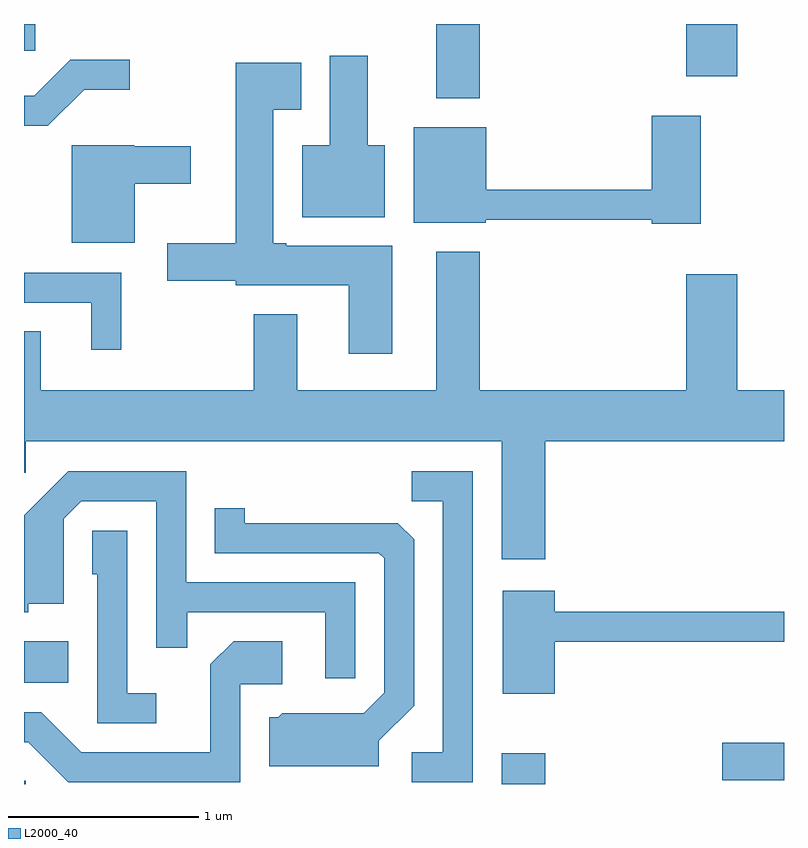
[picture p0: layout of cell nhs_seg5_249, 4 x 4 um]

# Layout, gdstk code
import gdstk
lib = gdstk.Library(unit=1e-6, precision=1e-09)
def R(c, l, rs):  # rectangles x0, y0, x1, y1
    for r in rs: c.add(gdstk.rectangle(r[:2], r[2:], *l))
def P(c, l, *ps):  # polygons
    for p in ps: c.add(gdstk.Polygon(p, *l))
L2000_40 = (2000, 40)

nhs_seg5_249 = lib.new_cell('nhs_seg5_249')
R(nhs_seg5_249, L2000_40, [(191.611,1486.072,191.619,1486.089), (194.126,1486.072,194.354,1486.234), (195.286,1486.091,195.611,1486.289), (191.611,1486.606,191.844,1486.824), (193.781,1489.681,194.009,1490.072), (195.096,1489.796,195.364,1490.072), (191.611,1489.931,191.669,1490.072)])
P(nhs_seg5_249, L2000_40, [(193.509,1489.434),(193.419,1489.434),(193.419,1489.904),(193.221,1489.904),(193.221,1489.434),(193.076,1489.434),(193.076,1489.056),(193.509,1489.056)],
  [(191.927,1489.726),(192.168,1489.726),(192.168,1489.884),(191.854,1489.884),(191.664,1489.694),(191.611,1489.694),(191.611,1489.536),(191.737,1489.536)],
  [(193.549,1488.904),(192.99,1488.904),(192.99,1488.919),(192.924,1488.919),(192.924,1489.621),(193.069,1489.621),(193.069,1489.869),(192.726,1489.869),(192.726,1488.919),(192.366,1488.919),(192.366,1488.721),(192.726,1488.721),(192.726,1488.696),(193.321,1488.696),(193.321,1488.336),(193.549,1488.336)],
  [(195.174,1489.589),(194.916,1489.589),(194.916,1489.199),(194.044,1489.199),(194.044,1489.529),(193.661,1489.529),(193.661,1489.026),(194.04,1489.026),(194.04,1489.041),(194.916,1489.041),(194.916,1489.021),(195.174,1489.021)],
  [(192.194,1489.231),(192.489,1489.231),(192.489,1489.429),(192.19,1489.429),(192.19,1489.434),(191.861,1489.434),(191.861,1488.921),(192.194,1488.921)],
  [(194.354,1487.876),(195.611,1487.876),(195.611,1488.144),(195.364,1488.144),(195.364,1488.754),(195.096,1488.754),(195.096,1488.144),(194.009,1488.144),(194.009,1488.874),(193.781,1488.874),(193.781,1488.144),(193.049,1488.144),(193.049,1488.544),(192.821,1488.544),(192.821,1488.144),(191.699,1488.144),(191.699,1488.454),(191.611,1488.454),(191.611,1487.711),(191.619,1487.711),(191.619,1487.876),(194.126,1487.876),(194.126,1487.256),(194.354,1487.256)],
  [(192.124,1488.764),(191.611,1488.764),(191.611,1488.606),(191.966,1488.606),(191.966,1488.358),(192.124,1488.358)],
  [(193.974,1487.719),(193.653,1487.719),(193.653,1487.561),(193.816,1487.561),(193.816,1486.239),(193.653,1486.239),(193.653,1486.081),(193.974,1486.081)],
  [(193.354,1487.134),(192.464,1487.134),(192.464,1487.719),(191.844,1487.719),(191.611,1487.486),(191.611,1486.976),(191.634,1486.976),(191.634,1487.021),(191.819,1487.021),(191.819,1487.469),(191.912,1487.561),(192.306,1487.561),(192.306,1486.788),(192.469,1486.788),(192.469,1486.976),(193.196,1486.976),(193.196,1486.628),(193.354,1486.628)],
  [(193.479,1486.299),(193.664,1486.484),(193.664,1487.359),(193.579,1487.444),(192.774,1487.444),(192.774,1487.523),(192.616,1487.523),(192.616,1487.286),(193.479,1487.286),(193.506,1487.259),(193.506,1486.552),(193.399,1486.444),(192.969,1486.444),(192.949,1486.424),(192.901,1486.424),(192.901,1486.166),(193.479,1486.166)],
  [(192.308,1486.549),(192.154,1486.549),(192.154,1487.404),(191.971,1487.404),(191.971,1487.176),(191.996,1487.176),(191.996,1486.391),(192.308,1486.391)],
  [(194.404,1486.821),(195.611,1486.821),(195.611,1486.979),(194.404,1486.979),(194.404,1487.089),(194.131,1487.089),(194.131,1486.546),(194.404,1486.546)],
  [(192.749,1486.596),(192.969,1486.596),(192.969,1486.824),(192.714,1486.824),(192.591,1486.702),(192.591,1486.239),(191.912,1486.239),(191.702,1486.449),(191.611,1486.449),(191.611,1486.291),(191.634,1486.291),(191.844,1486.081),(192.749,1486.081)])

lib.write_gds('nhs_seg5_249.gds')
